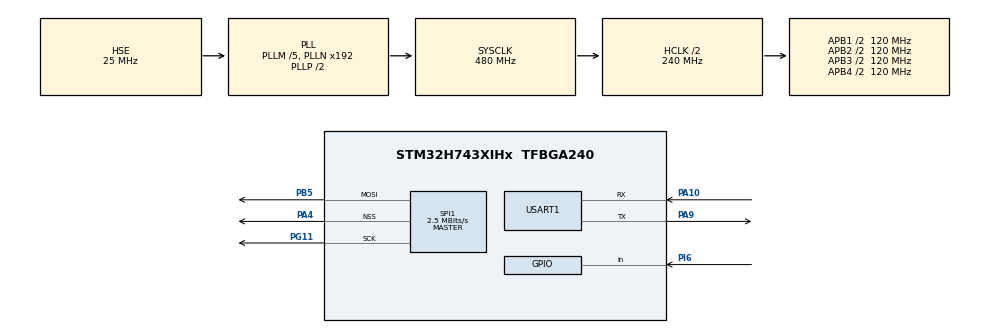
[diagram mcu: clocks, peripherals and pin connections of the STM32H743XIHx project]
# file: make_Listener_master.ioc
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CORTEX_M7.default_mode_Activation=1
Mcu.Family=STM32H7
Mcu.Name=STM32H743XIHx
Mcu.Package=TFBGA240
NVIC.PriorityGroup=NVIC_PRIORITYGROUP_4
NVIC.SPI1_IRQn=true\:0\:0\:false\:false\:true\:true\:true\:true
PA10.Mode=Asynchronous
PA10.Signal=USART1_RX
PA4.Mode=NSS_Signal_Hard_Output
PA4.Signal=SPI1_NSS
PA9.Mode=Asynchronous
PA9.Signal=USART1_TX
PB5.Mode=TX_Only_Simplex_Unidirect_Master
PB5.Signal=SPI1_MOSI
PG11.Mode=TX_Only_Simplex_Unidirect_Master
PG11.Signal=SPI1_SCK
PH0-OSC_IN\ (PH0).Mode=HSE-External-Oscillator
PH0-OSC_IN\ (PH0).Signal=RCC_OSC_IN
PH1-OSC_OUT\ (PH1).Mode=HSE-External-Oscillator
PH1-OSC_OUT\ (PH1).Signal=RCC_OSC_OUT
PI6.Signal=GPIO_Input
ProjectManager.HeapSize=0x200
ProjectManager.StackSize=0x400
ProjectManager.TargetToolchain=STM32CubeIDE
RCC.ADCFreq_Value=50390625
RCC.APB1Freq_Value=120000000
RCC.APB2Freq_Value=120000000
RCC.APB3Freq_Value=120000000
RCC.APB4Freq_Value=120000000
RCC.CortexFreq_Value=480000000
RCC.D1PPRE=RCC_APB3_DIV2
RCC.D2PPRE1=RCC_APB1_DIV2
RCC.D2PPRE2=RCC_APB2_DIV2
RCC.D3PPRE=RCC_APB4_DIV2
RCC.DIVM1=5
RCC.DIVM3=5
RCC.DIVN1=192
RCC.DIVN3=75
RCC.DIVP3=75
RCC.HCLKFreq_Value=240000000
RCC.HPRE=RCC_HCLK_DIV2
RCC.HSE_VALUE=25000000
RCC.PLL3FRACN=0
RCC.PLLFRACN=0
RCC.PLLSourceVirtual=RCC_PLLSOURCE_HSE
RCC.SPI123CLockSelection=RCC_SPI123CLKSOURCE_PLL3
RCC.SYSCLKFreq_VALUE=480000000
RCC.SYSCLKSource=RCC_SYSCLKSOURCE_PLLCLK
RCC.USBFreq_Value=480000000
SPI1.BaudRatePrescaler=SPI_BAUDRATEPRESCALER_2
SPI1.CalculateBaudRate=2.5 MBits/s
SPI1.DataSize=SPI_DATASIZE_8BIT
SPI1.Direction=SPI_DIRECTION_2LINES_TXONLY
SPI1.Mode=SPI_MODE_MASTER
SPI1.NSSPMode=SPI_NSS_PULSE_DISABLE
SPI1.VirtualNSS=VM_NSSHARD
SPI1.VirtualType=VM_MASTER
USART1.VirtualMode-Asynchronous=VM_ASYNC
VP_MEMORYMAP_VS_MEMORYMAP.Mode=CurAppReg
board=custom

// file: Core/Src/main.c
/* USER CODE BEGIN Header */
/**
  ******************************************************************************
  * @file           : main.c
  * @brief          : Main program body
  ******************************************************************************
  * @attention
  *
  * Copyright (c) 2025 STMicroelectronics.
  * All rights reserved.
  *
  * This software is licensed under terms that can be found in the LICENSE file
  * in the root directory of this software component.
  * If no LICENSE file comes with this software, it is provided AS-IS.
  *
  ******************************************************************************
  */
/* USER CODE END Header */
#include "main.h"
#include "spi.h"
#include "usart.h"
#include "gpio.h"

/* USER CODE BEGIN Includes */
#include <stdio.h>
#include "string.h"
#include "stm32h7xx_hal.h"
//#include "Button.h"
#include "vector.h"
#include "Listener.h"
//#include "Listener.h"
/* USER CODE END Includes */

void SystemClock_Config(void);
static void MPU_Config(void);

int main(void)
{

  /* USER CODE BEGIN 1 */
	uint8_t tx_data[1] = {0x01};
	uint8_t cnt = 0;
  /* USER CODE END 1 */

  /* MPU Configuration--------------------------------------------------------*/
  MPU_Config();

  /* MCU Configuration--------------------------------------------------------*/

  /* Reset of all peripherals, Initializes the Flash interface and the Systick. */
  HAL_Init();

  /* USER CODE BEGIN Init */
  //Listener_Init();
  /* USER CODE END Init */

  /* Configure the system clock */
  SystemClock_Config();

  /* Initialize all configured peripherals */
  MX_GPIO_Init();
  MX_SPI1_Init();
  MX_USART1_UART_Init();

  /* Infinite loop */
  /* USER CODE BEGIN WHILE */
  while (1)
  {
      HAL_StatusTypeDef result = HAL_SPI_Transmit(&hspi1, &tx_data[0], 1, 1000);
      if (result == HAL_OK) {
          char str[50];
          sprintf(str, "Success, tx_data[%d] = %d\r\n", 0, tx_data[0]);
          HAL_UART_Transmit(&huart1, (uint8_t *)str, strlen(str), 100);
          cnt++;
      }
      if(cnt == 1){
    	  return;
      }
  }
}
    /* USER CODE END WHILE */

void SystemClock_Config(void)
{
  RCC_OscInitTypeDef RCC_OscInitStruct = {0};
  RCC_ClkInitTypeDef RCC_ClkInitStruct = {0};

  /** Supply configuration update enable
  */
  HAL_PWREx_ConfigSupply(PWR_LDO_SUPPLY);

  /** Configure the main internal regulator output voltage
  */
  __HAL_PWR_VOLTAGESCALING_CONFIG(PWR_REGULATOR_VOLTAGE_SCALE0);

  while(!__HAL_PWR_GET_FLAG(PWR_FLAG_VOSRDY)) {}

  /** Initializes the RCC Oscillators according to the specified parameters
  * in the RCC_OscInitTypeDef structure.
  */
  RCC_OscInitStruct.OscillatorType = RCC_OSCILLATORTYPE_HSE;
  RCC_OscInitStruct.HSEState = RCC_HSE_ON;
  RCC_OscInitStruct.PLL.PLLState = RCC_PLL_ON;
  RCC_OscInitStruct.PLL.PLLSource = RCC_PLLSOURCE_HSE;
  RCC_OscInitStruct.PLL.PLLM = 5;
  RCC_OscInitStruct.PLL.PLLN = 192;
  RCC_OscInitStruct.PLL.PLLP = 2;
  RCC_OscInitStruct.PLL.PLLQ = 2;
  RCC_OscInitStruct.PLL.PLLR = 2;
  RCC_OscInitStruct.PLL.PLLRGE = RCC_PLL1VCIRANGE_2;
  RCC_OscInitStruct.PLL.PLLVCOSEL = RCC_PLL1VCOWIDE;
  RCC_OscInitStruct.PLL.PLLFRACN = 0;
  if (HAL_RCC_OscConfig(&RCC_OscInitStruct) != HAL_OK)
  {
    Error_Handler();
  }

  /** Initializes the CPU, AHB and APB buses clocks
  */
  RCC_ClkInitStruct.ClockType = RCC_CLOCKTYPE_HCLK|RCC_CLOCKTYPE_SYSCLK
                              |RCC_CLOCKTYPE_PCLK1|RCC_CLOCKTYPE_PCLK2
                              |RCC_CLOCKTYPE_D3PCLK1|RCC_CLOCKTYPE_D1PCLK1;
  RCC_ClkInitStruct.SYSCLKSource = RCC_SYSCLKSOURCE_PLLCLK;
  RCC_ClkInitStruct.SYSCLKDivider = RCC_SYSCLK_DIV1;
  RCC_ClkInitStruct.AHBCLKDivider = RCC_HCLK_DIV2;
  RCC_ClkInitStruct.APB3CLKDivider = RCC_APB3_DIV2;
  RCC_ClkInitStruct.APB1CLKDivider = RCC_APB1_DIV2;
  RCC_ClkInitStruct.APB2CLKDivider = RCC_APB2_DIV2;
  RCC_ClkInitStruct.APB4CLKDivider = RCC_APB4_DIV2;

  if (HAL_RCC_ClockConfig(&RCC_ClkInitStruct, FLASH_LATENCY_4) != HAL_OK)
  {
    Error_Handler();
  }
}

 /* MPU Configuration */

void MPU_Config(void)
{
  MPU_Region_InitTypeDef MPU_InitStruct = {0};

  /* Disables the MPU */
  HAL_MPU_Disable();

  /** Initializes and configures the Region and the memory to be protected
  */
  MPU_InitStruct.Enable = MPU_REGION_ENABLE;
  MPU_InitStruct.Number = MPU_REGION_NUMBER0;
  MPU_InitStruct.BaseAddress = 0x0;
  MPU_InitStruct.Size = MPU_REGION_SIZE_4GB;
  MPU_InitStruct.SubRegionDisable = 0x87;
  MPU_InitStruct.TypeExtField = MPU_TEX_LEVEL0;
  MPU_InitStruct.AccessPermission = MPU_REGION_NO_ACCESS;
  MPU_InitStruct.DisableExec = MPU_INSTRUCTION_ACCESS_DISABLE;
  MPU_InitStruct.IsShareable = MPU_ACCESS_SHAREABLE;
  MPU_InitStruct.IsCacheable = MPU_ACCESS_NOT_CACHEABLE;
  MPU_InitStruct.IsBufferable = MPU_ACCESS_NOT_BUFFERABLE;

  HAL_MPU_ConfigRegion(&MPU_InitStruct);
  /* Enables the MPU */
  HAL_MPU_Enable(MPU_PRIVILEGED_DEFAULT);

}

void Error_Handler(void)
{
  __disable_irq();
  while (1)
  {
  }
}
